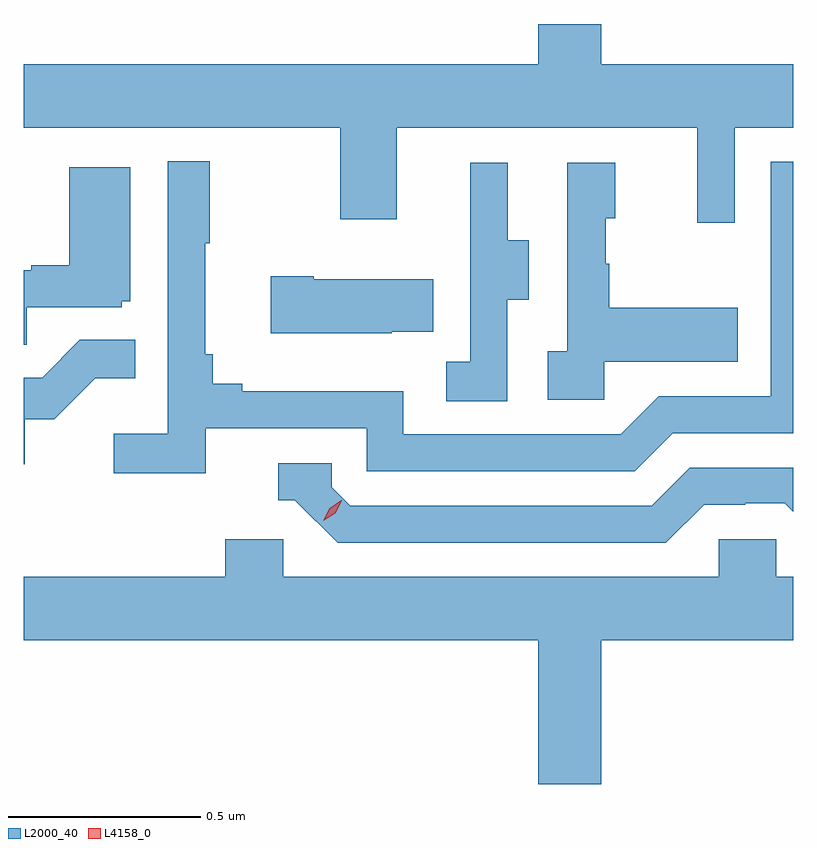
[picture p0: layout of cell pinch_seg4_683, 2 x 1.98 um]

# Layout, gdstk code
import gdstk
lib = gdstk.Library(unit=1e-6, precision=1e-09)
def P(c, l, *ps):  # polygons
    for p in ps: c.add(gdstk.Polygon(p, *l))
L2000_40 = (2000, 40)
L4158_0 = (4158, 0)

pinch_seg4_683 = lib.new_cell('pinch_seg4_683')
P(pinch_seg4_683, L2000_40, [(1088.595,766.184),(1088.747,766.184),(1088.747,766.348),(1088.248,766.348),(1088.248,766.453),(1088.084,766.453),(1088.084,766.348),(1086.747,766.348),(1086.747,766.184),(1087.57,766.184),(1087.57,765.945),(1087.717,765.945),(1087.717,766.184),(1088.498,766.184),(1088.498,765.936),(1088.595,765.936)],
  [(1087.22,765.402),(1087.638,765.402),(1087.638,765.291),(1088.335,765.291),(1088.434,765.39),(1088.747,765.39),(1088.747,766.095),(1088.688,766.095),(1088.688,765.486),(1088.397,765.486),(1088.298,765.387),(1087.734,765.387),(1087.734,765.499),(1087.315,765.499),(1087.315,765.518),(1087.238,765.518),(1087.238,765.595),(1087.219,765.595),(1087.219,765.883),(1087.231,765.883),(1087.231,766.096),(1087.122,766.096),(1087.122,765.388),(1086.981,765.388),(1086.981,765.286),(1087.22,765.286)],
  [(1088.004,765.736),(1088.059,765.736),(1088.059,765.891),(1088.005,765.891),(1088.005,766.093),(1087.907,766.093),(1087.907,765.879),(1087.908,765.879),(1087.908,765.575),(1087.845,765.575),(1087.845,765.472),(1088.004,765.472)],
  [(1088.256,765.575),(1088.603,765.575),(1088.603,765.715),(1088.269,765.715),(1088.269,765.83),(1088.259,765.83),(1088.259,765.948),(1088.284,765.948),(1088.284,766.093),(1088.16,766.093),(1088.16,765.602),(1088.109,765.602),(1088.109,765.477),(1088.256,765.477)],
  [(1086.755,765.717),(1087.002,765.717),(1087.002,765.732),(1087.024,765.732),(1087.024,766.081),(1086.866,766.081),(1086.866,765.826),(1086.767,765.826),(1086.767,765.813),(1086.747,765.813),(1086.747,765.619),(1086.755,765.619)],
  [(1087.703,765.653),(1087.811,765.653),(1087.811,765.79),(1087.501,765.79),(1087.501,765.798),(1087.389,765.798),(1087.389,765.65),(1087.703,765.65)],
  [(1086.75,765.426),(1086.826,765.426),(1086.933,765.533),(1087.037,765.533),(1087.037,765.632),(1086.893,765.632),(1086.795,765.534),(1086.747,765.534),(1086.747,765.309),(1086.75,765.309)],
  [(1088.515,765.204),(1088.622,765.204),(1088.622,765.207),(1088.725,765.207),(1088.747,765.185),(1088.747,765.3),(1088.478,765.3),(1088.379,765.201),(1087.596,765.201),(1087.548,765.249),(1087.548,765.312),(1087.409,765.312),(1087.409,765.216),(1087.452,765.216),(1087.563,765.105),(1088.416,765.105)],
  [(1088.248,764.852),(1088.747,764.852),(1088.747,765.016),(1088.703,765.016),(1088.703,765.114),(1088.553,765.114),(1088.553,765.016),(1087.422,765.016),(1087.422,765.114),(1087.271,765.114),(1087.271,765.016),(1086.747,765.016),(1086.747,764.852),(1088.084,764.852),(1088.084,764.478),(1088.248,764.478)])
P(pinch_seg4_683, L4158_0, [(1087.526,765.162),(1087.526,765.162),(1087.542,765.195),(1087.572,765.215),(1087.573,765.215),(1087.573,765.214),(1087.557,765.181),(1087.526,765.162)])

lib.write_gds('pinch_seg4_683.gds')
